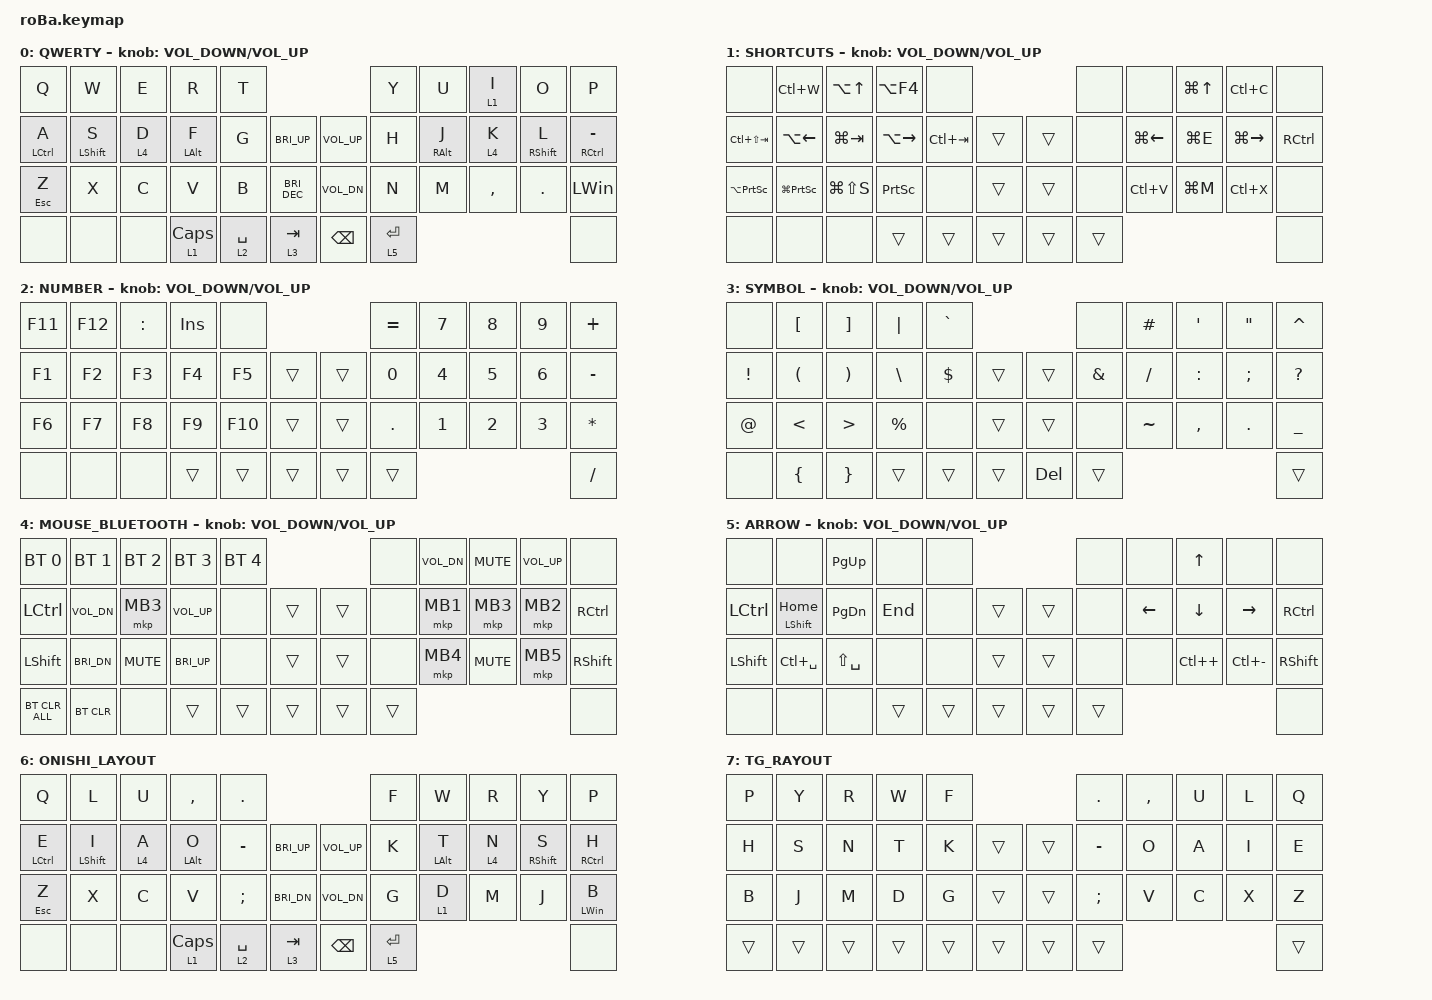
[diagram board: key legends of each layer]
#include <behaviors.dtsi>
#include <dt-bindings/zmk/bt.h>
#include <dt-bindings/zmk/keys.h>
#include <dt-bindings/zmk/pointing.h>

#define MOUSE 4
#define SHORTCUTS 1

//#define SCROLL 1

#define NUM 6

&mt {
    flavor = "balanced";
    quick-tap-ms = <0>;
};

/ {
    combos {
        compatible = "zmk,combos";

        JP {
            bindings = <&kp LANGUAGE_1>;
            key-positions = <19 20>;
        };

        ENG {
            bindings = <&kp LANGUAGE_2>;
            key-positions = <11 12>;
        };

        ONISHI {
            bindings = <&tog 6>;
            key-positions = <31 32>;
        };
    };

    macros {
        to_layer_0: to_layer_0 {
            compatible = "zmk,behavior-macro-one-param";
            #binding-cells = <1>;
            bindings = <&to 0 &macro_param_1to1 &kp MACRO_PLACEHOLDER>;
            label = "TO_LAYER_0";
        };
    };

    behaviors {
        lt_to_layer_0: lt_to_layer_0 {
            compatible = "zmk,behavior-hold-tap";
            label = "LAYER_TAP_TO_0";
            bindings = <&mo>, <&to_layer_0>;

            #binding-cells = <2>;
            tapping-term-ms = <200>;
        };
    };

    keymap {
        compatible = "zmk,keymap";

        QWERTY {
            bindings = <
&kp Q               &kp W             &kp E    &kp R           &kp T                                                 &kp Y        &kp U            &lt 1 I    &kp O              &kp P
&mt LEFT_CONTROL A  &mt LEFT_SHIFT S  &lt 4 D  &mt LEFT_ALT F  &kp G        &kp C_BRI_UP              &kp C_VOL_UP   &kp H        &mt RIGHT_ALT J  &lt 4 K    &mt RIGHT_SHIFT L  &mt RIGHT_CONTROL MINUS
&mt ESCAPE Z        &kp X             &kp C    &kp V           &kp B        &kp C_BRIGHTNESS_DEC      &kp C_VOL_DN   &kp N        &kp M            &kp COMMA  &kp PERIOD         &kp LEFT_WIN
&none               &none             &none    &lt 1 CAPSLOCK  &lt 2 SPACE  &lt 3 TAB                 &kp BACKSPACE  &lt 5 ENTER                                                 &none
            >;

            sensor-bindings = <&inc_dec_kp C_VOLUME_DOWN C_VOLUME_UP>;
        };

        SHORTCUTS {
            bindings = <
&none                &kp LC(W)            &kp LA(UP_ARROW)  &kp LA(F4)           &none                            &none   &none               &kp LG(UP_ARROW)  &kp LC(C)            &none
&kp LC(LS(TAB))      &kp LA(LEFT_ARROW)   &kp LG(TAB)       &kp LA(RIGHT_ARROW)  &kp LC(TAB)  &trans      &trans  &none   &kp LG(LEFT_ARROW)  &kp LG(E)         &kp LG(RIGHT_ARROW)  &kp RIGHT_CONTROL
&kp LA(PRINTSCREEN)  &kp LG(PRINTSCREEN)  &kp LG(LS(S))     &kp PRINTSCREEN      &none        &trans      &trans  &none   &kp LC(V)           &kp LG(M)         &kp LC(X)            &none
&none                &none                &none             &trans               &trans       &trans      &trans  &trans                                                             &none
            >;

            sensor-bindings = <&inc_dec_kp C_VOLUME_DOWN C_VOLUME_UP>;
        };

        NUMBER {
            bindings = <
&kp F11  &kp F12  &kp COLON  &kp INS  &none                        &kp EQUAL     &kp NUMBER_7  &kp NUMBER_8  &kp NUMBER_9  &kp PLUS
&kp F1   &kp F2   &kp F3     &kp F4   &kp F5   &trans      &trans  &kp NUMBER_0  &kp NUMBER_4  &kp N5        &kp NUMBER_6  &kp MINUS
&kp F6   &kp F7   &kp F8     &kp F9   &kp F10  &trans      &trans  &kp PERIOD    &kp NUMBER_1  &kp NUMBER_2  &kp NUMBER_3  &kp ASTRK
&none    &none    &none      &trans   &trans   &trans      &trans  &trans                                                  &kp SLASH
            >;

            sensor-bindings = <&inc_dec_kp C_VOLUME_DOWN C_VOLUME_UP>;
        };

        SYMBOL {
            bindings = <
&none            &kp LEFT_BRACKET      &kp RIGHT_BRACKET      &kp PIPE       &kp GRAVE                           &none          &kp HASH   &kp SQT    &kp DOUBLE_QUOTES  &kp CARET
&kp EXCLAMATION  &kp LEFT_PARENTHESIS  &kp RIGHT_PARENTHESIS  &kp BACKSLASH  &kp DOLLAR  &trans      &trans      &kp AMPERSAND  &kp SLASH  &kp COLON  &kp SEMICOLON      &kp QUESTION
&kp AT           &kp LESS_THAN         &kp GREATER_THAN       &kp PERCENT    &none       &trans      &trans      &none          &kp TILDE  &kp COMMA  &kp PERIOD         &kp UNDER
&none            &kp LEFT_BRACE        &kp RIGHT_BRACE        &trans         &trans      &trans      &kp DELETE  &trans                                                  &trans
            >;

            sensor-bindings = <&inc_dec_kp C_VOLUME_DOWN C_VOLUME_UP>;
        };

        MOUSE_BLUETOOTH {
            bindings = <
&bt BT_SEL 0      &bt BT_SEL 1  &bt BT_SEL 2  &bt BT_SEL 3  &bt BT_SEL 4                      &none   &kp C_VOL_DN  &kp C_MUTE  &kp C_VOL_UP  &none
&kp LEFT_CONTROL  &kp C_VOL_DN  &mkp MB3      &kp C_VOL_UP  &none         &trans      &trans  &none   &mkp MB1      &mkp MB3    &mkp MB2      &kp RIGHT_CONTROL
&kp LEFT_SHIFT    &kp C_BRI_DN  &kp C_MUTE    &kp C_BRI_UP  &none         &trans      &trans  &none   &mkp MB4      &kp C_MUTE  &mkp MB5      &kp RIGHT_SHIFT
&bt BT_CLR_ALL    &bt BT_CLR    &none         &trans        &trans        &trans      &trans  &trans                                          &none
            >;

            sensor-bindings = <&inc_dec_kp C_VOLUME_DOWN C_VOLUME_UP>;
        };

        ARROW {
            bindings = <
&none             &none                &kp PAGE_UP    &none    &none                       &none   &none           &kp UP_ARROW  &none            &none
&kp LEFT_CONTROL  &mt LEFT_SHIFT HOME  &kp PAGE_DOWN  &kp END  &none   &trans      &trans  &none   &kp LEFT_ARROW  &kp DOWN      &kp RIGHT_ARROW  &kp RIGHT_CONTROL
&kp LEFT_SHIFT    &kp LC(SPACE)        &kp LS(SPACE)  &none    &none   &trans      &trans  &none   &none           &kp LC(PLUS)  &kp LC(MINUS)    &kp RIGHT_SHIFT
&none             &none                &none          &trans   &trans  &trans      &trans  &trans                                                 &none
            >;

            sensor-bindings = <&inc_dec_kp C_VOLUME_DOWN C_VOLUME_UP>;
        };

        ONISHI_LAYOUT {
            bindings = <
&kp Q               &kp L             &kp U    &kp COMMA       &kp PERIOD                                    &kp F        &kp W           &kp R    &kp Y              &kp P
&mt LEFT_CONTROL E  &mt LEFT_SHIFT I  &lt 4 A  &mt LEFT_ALT O  &kp MINUS    &kp C_BRI_UP      &kp C_VOL_UP   &kp K        &mt LEFT_ALT T  &lt 4 N  &mt RIGHT_SHIFT S  &mt RIGHT_CONTROL H
&mt ESCAPE Z        &kp X             &kp C    &kp V           &kp SEMI     &kp C_BRI_DN      &kp C_VOL_DN   &kp G        &lt 1 D         &kp M    &kp J              &mt LEFT_WIN B
&none               &none             &none    &lt 1 CAPSLOCK  &lt 2 SPACE  &lt 3 TAB         &kp BACKSPACE  &lt 5 ENTER                                              &none
            >;
        };

        TG_RAYOUT {
            bindings = <
&kp P   &kp Y   &kp R   &kp W   &kp F                       &kp PERIOD  &kp COMMA  &kp U  &kp L  &kp Q
&kp H   &kp S   &kp N   &kp T   &kp K   &trans      &trans  &kp MINUS   &kp O      &kp A  &kp I  &kp E
&kp B   &kp J   &kp M   &kp D   &kp G   &trans      &trans  &kp SEMI    &kp V      &kp C  &kp X  &kp Z
&trans  &trans  &trans  &trans  &trans  &trans      &trans  &trans                               &trans
            >;
        };
    };
};
